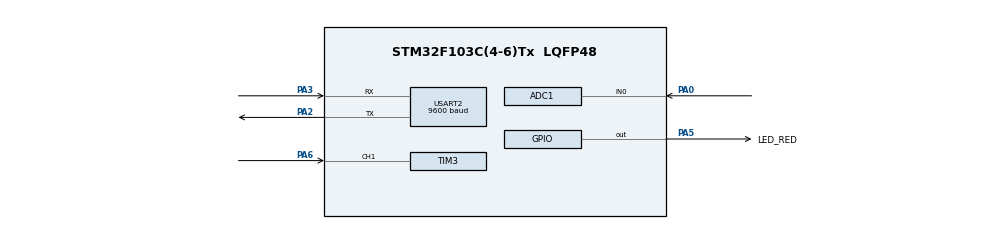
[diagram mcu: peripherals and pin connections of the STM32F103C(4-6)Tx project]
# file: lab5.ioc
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ADC1.Channel-0\#ChannelRegularConversion=ADC_CHANNEL_0
ADC1.NbrOfConversionFlag=1
ADC1.Rank-0\#ChannelRegularConversion=1
ADC1.SamplingTime-0\#ChannelRegularConversion=ADC_SAMPLETIME_1CYCLE_5
ADC1.master=1
Mcu.Family=STM32F1
Mcu.Name=STM32F103C(4-6)Tx
Mcu.Package=LQFP48
NVIC.PriorityGroup=NVIC_PRIORITYGROUP_4
NVIC.TIM3_IRQn=true\:0\:0\:false\:false\:true\:true\:true
NVIC.USART2_IRQn=true\:0\:0\:false\:false\:true\:true\:true
PA0-WKUP.Signal=ADCx_IN0
PA2.Mode=Asynchronous
PA2.Signal=USART2_TX
PA3.Mode=Asynchronous
PA3.Signal=USART2_RX
PA5.GPIO_Label=LED_RED
PA5.Signal=GPIO_Output
PA6.Signal=S_TIM3_CH1
ProjectManager.HeapSize=0x200
ProjectManager.StackSize=0x400
ProjectManager.TargetToolchain=STM32CubeIDE
RCC.APB1Freq_Value=8000000
RCC.APB2Freq_Value=8000000
SH.ADCx_IN0.0=ADC1_IN0,IN0
SH.S_TIM3_CH1.0=TIM3_CH1,Input_Capture1_from_TI1
TIM3.Channel-Input_Capture1_from_TI1=TIM_CHANNEL_1
TIM3.Period=799
TIM3.Prescaler=999
USART2.BaudRate=9600
USART2.VirtualMode=VM_ASYNC
VP_SYS_VS_ND.Mode=No_Debug
VP_TIM3_VS_ClockSourceINT.Mode=Internal
board=custom

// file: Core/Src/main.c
/* USER CODE BEGIN Header */
/**
  ******************************************************************************
  * @file           : main.c
  * @brief          : Main program body
  ******************************************************************************
  * @attention
  *
  * <h2><center>&copy; Copyright (c) 2023 STMicroelectronics.
  * All rights reserved.</center></h2>
  *
  * This software component is licensed by ST under BSD 3-Clause license,
  * the "License"; You may not use this file except in compliance with the
  * License. You may obtain a copy of the License at:
  *                        opensource.org/licenses/BSD-3-Clause
  *
  ******************************************************************************
  */
/* USER CODE END Header */
#include "main.h"

/* USER CODE BEGIN Includes */
#include "global.h"
#include "command_parse_fsm.h"
#include "uart_communication_fsm.h"
/* USER CODE END Includes */

ADC_HandleTypeDef hadc1;

TIM_HandleTypeDef htim3;

UART_HandleTypeDef huart2;

void SystemClock_Config(void);
static void MX_GPIO_Init(void);
static void MX_ADC1_Init(void);
static void MX_TIM3_Init(void);
static void MX_USART2_UART_Init(void);

int main(void)
{

  /* MCU Configuration--------------------------------------------------------*/

  /* Reset of all peripherals, Initializes the Flash interface and the Systick. */
  HAL_Init();

  /* Configure the system clock */
  SystemClock_Config();

  /* Initialize all configured peripherals */
  MX_GPIO_Init();
  MX_ADC1_Init();
  MX_TIM3_Init();
  MX_USART2_UART_Init();
  /* USER CODE BEGIN 2 */
  system_init();
  HAL_TIM_Base_Start_IT(&htim3);
  HAL_UART_Receive_IT (&huart2 , &temp , 1);

  /* USER CODE END 2 */

  /* Infinite loop */
  /* USER CODE BEGIN WHILE */
  while (1)
  {
	  if( buffer_flag == 1){
	     command_parse_fsm();
	 	 buffer_flag = 0;
	  }
	  uart_communication_fsm();

    /* USER CODE END WHILE */

  }
}

void SystemClock_Config(void)
{
  RCC_OscInitTypeDef RCC_OscInitStruct = {0};
  RCC_ClkInitTypeDef RCC_ClkInitStruct = {0};
  RCC_PeriphCLKInitTypeDef PeriphClkInit = {0};

  /** Initializes the RCC Oscillators according to the specified parameters
  * in the RCC_OscInitTypeDef structure.
  */
  RCC_OscInitStruct.OscillatorType = RCC_OSCILLATORTYPE_HSI;
  RCC_OscInitStruct.HSIState = RCC_HSI_ON;
  RCC_OscInitStruct.HSICalibrationValue = RCC_HSICALIBRATION_DEFAULT;
  RCC_OscInitStruct.PLL.PLLState = RCC_PLL_NONE;
  if (HAL_RCC_OscConfig(&RCC_OscInitStruct) != HAL_OK)
  {
    Error_Handler();
  }
  /** Initializes the CPU, AHB and APB buses clocks
  */
  RCC_ClkInitStruct.ClockType = RCC_CLOCKTYPE_HCLK|RCC_CLOCKTYPE_SYSCLK
                              |RCC_CLOCKTYPE_PCLK1|RCC_CLOCKTYPE_PCLK2;
  RCC_ClkInitStruct.SYSCLKSource = RCC_SYSCLKSOURCE_HSI;
  RCC_ClkInitStruct.AHBCLKDivider = RCC_SYSCLK_DIV1;
  RCC_ClkInitStruct.APB1CLKDivider = RCC_HCLK_DIV1;
  RCC_ClkInitStruct.APB2CLKDivider = RCC_HCLK_DIV1;

  if (HAL_RCC_ClockConfig(&RCC_ClkInitStruct, FLASH_LATENCY_0) != HAL_OK)
  {
    Error_Handler();
  }
  PeriphClkInit.PeriphClockSelection = RCC_PERIPHCLK_ADC;
  PeriphClkInit.AdcClockSelection = RCC_ADCPCLK2_DIV2;
  if (HAL_RCCEx_PeriphCLKConfig(&PeriphClkInit) != HAL_OK)
  {
    Error_Handler();
  }
}

static void MX_ADC1_Init(void)
{

  ADC_ChannelConfTypeDef sConfig = {0};

  /** Common config
  */
  hadc1.Instance = ADC1;
  hadc1.Init.ScanConvMode = ADC_SCAN_DISABLE;
  hadc1.Init.ContinuousConvMode = DISABLE;
  hadc1.Init.DiscontinuousConvMode = DISABLE;
  hadc1.Init.ExternalTrigConv = ADC_SOFTWARE_START;
  hadc1.Init.DataAlign = ADC_DATAALIGN_RIGHT;
  hadc1.Init.NbrOfConversion = 1;
  if (HAL_ADC_Init(&hadc1) != HAL_OK)
  {
    Error_Handler();
  }
  /** Configure Regular Channel
  */
  sConfig.Channel = ADC_CHANNEL_0;
  sConfig.Rank = ADC_REGULAR_RANK_1;
  sConfig.SamplingTime = ADC_SAMPLETIME_1CYCLE_5;
  if (HAL_ADC_ConfigChannel(&hadc1, &sConfig) != HAL_OK)
  {
    Error_Handler();
  }

}

static void MX_TIM3_Init(void)
{

  TIM_ClockConfigTypeDef sClockSourceConfig = {0};
  TIM_MasterConfigTypeDef sMasterConfig = {0};
  TIM_IC_InitTypeDef sConfigIC = {0};

  htim3.Instance = TIM3;
  htim3.Init.Prescaler = 999;
  htim3.Init.CounterMode = TIM_COUNTERMODE_UP;
  htim3.Init.Period = 799;
  htim3.Init.ClockDivision = TIM_CLOCKDIVISION_DIV1;
  htim3.Init.AutoReloadPreload = TIM_AUTORELOAD_PRELOAD_DISABLE;
  if (HAL_TIM_Base_Init(&htim3) != HAL_OK)
  {
    Error_Handler();
  }
  sClockSourceConfig.ClockSource = TIM_CLOCKSOURCE_INTERNAL;
  if (HAL_TIM_ConfigClockSource(&htim3, &sClockSourceConfig) != HAL_OK)
  {
    Error_Handler();
  }
  if (HAL_TIM_IC_Init(&htim3) != HAL_OK)
  {
    Error_Handler();
  }
  sMasterConfig.MasterOutputTrigger = TIM_TRGO_RESET;
  sMasterConfig.MasterSlaveMode = TIM_MASTERSLAVEMODE_DISABLE;
  if (HAL_TIMEx_MasterConfigSynchronization(&htim3, &sMasterConfig) != HAL_OK)
  {
    Error_Handler();
  }
  sConfigIC.ICPolarity = TIM_INPUTCHANNELPOLARITY_RISING;
  sConfigIC.ICSelection = TIM_ICSELECTION_DIRECTTI;
  sConfigIC.ICPrescaler = TIM_ICPSC_DIV1;
  sConfigIC.ICFilter = 0;
  if (HAL_TIM_IC_ConfigChannel(&htim3, &sConfigIC, TIM_CHANNEL_1) != HAL_OK)
  {
    Error_Handler();
  }

}

static void MX_USART2_UART_Init(void)
{

  huart2.Instance = USART2;
  huart2.Init.BaudRate = 9600;
  huart2.Init.WordLength = UART_WORDLENGTH_8B;
  huart2.Init.StopBits = UART_STOPBITS_1;
  huart2.Init.Parity = UART_PARITY_NONE;
  huart2.Init.Mode = UART_MODE_TX_RX;
  huart2.Init.HwFlowCtl = UART_HWCONTROL_NONE;
  huart2.Init.OverSampling = UART_OVERSAMPLING_16;
  if (HAL_UART_Init(&huart2) != HAL_OK)
  {
    Error_Handler();
  }

}

static void MX_GPIO_Init(void)
{
  GPIO_InitTypeDef GPIO_InitStruct = {0};

  /* GPIO Ports Clock Enable */
  __HAL_RCC_GPIOA_CLK_ENABLE();

  /*Configure GPIO pin Output Level */
  HAL_GPIO_WritePin(LED_RED_GPIO_Port, LED_RED_Pin, GPIO_PIN_RESET);

  /*Configure GPIO pin : LED_RED_Pin */
  GPIO_InitStruct.Pin = LED_RED_Pin;
  GPIO_InitStruct.Mode = GPIO_MODE_OUTPUT_PP;
  GPIO_InitStruct.Pull = GPIO_NOPULL;
  GPIO_InitStruct.Speed = GPIO_SPEED_FREQ_LOW;
  HAL_GPIO_Init(LED_RED_GPIO_Port, &GPIO_InitStruct);

}

/* USER CODE BEGIN 4 */
int counter = 30;

void HAL_TIM_PeriodElapsedCallback(TIM_HandleTypeDef *htim)
{
	counter--;
	if (counter <= 0) {
		counter = 30;
		timer_flag = 1;
	}
}

void HAL_UART_RxCpltCallback ( UART_HandleTypeDef * huart ){
	if(huart -> Instance == USART2 ){
		 HAL_UART_Transmit (&huart2 , &temp , 1, 50) ;
		buffer[index_buffer++] = temp ;
		if (index_buffer == 30) index_buffer = 0;
		buffer_flag = 1;
		HAL_UART_Receive_IT (&huart2 , &temp , 1);

	}
}
/* USER CODE END 4 */

void Error_Handler(void)
{
  __disable_irq();
  while (1)
  {
  }
}

/************************ (C) COPYRIGHT STMicroelectronics *****END OF FILE****/
